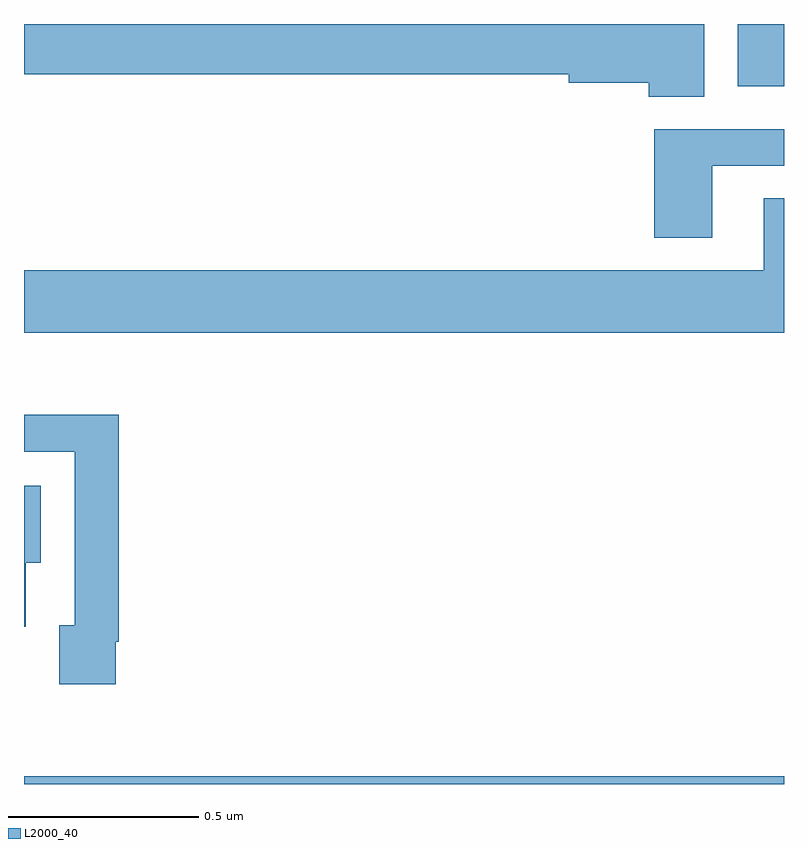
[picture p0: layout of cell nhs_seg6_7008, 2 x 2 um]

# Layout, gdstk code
import gdstk
lib = gdstk.Library(unit=1e-6, precision=1e-09)
def R(c, l, rs):  # rectangles x0, y0, x1, y1
    for r in rs: c.add(gdstk.rectangle(r[:2], r[2:], *l))
def P(c, l, *ps):  # polygons
    for p in ps: c.add(gdstk.Polygon(p, *l))
L2000_40 = (2000, 40)

nhs_seg6_7008 = lib.new_cell('nhs_seg6_7008')
R(nhs_seg6_7008, L2000_40, [(203,927.5,205,927.52), (204.878,929.336,205,929.5)])
P(nhs_seg6_7008, L2000_40, [(204.79,929.5),(203,929.5),(203,929.368),(204.434,929.368),(204.434,929.345),(204.644,929.345),(204.644,929.308),(204.79,929.308)],
  [(204.811,929.127),(205,929.127),(205,929.223),(204.659,929.223),(204.659,928.938),(204.811,928.938)],
  [(205,929.042),(204.947,929.042),(204.947,928.852),(203,928.852),(203,928.688),(205,928.688)],
  [(203.242,927.874),(203.249,927.874),(203.249,928.472),(203,928.472),(203,928.374),(203.133,928.374),(203.133,927.918),(203.093,927.918),(203.093,927.762),(203.242,927.762)],
  [(203.005,928.082),(203.044,928.082),(203.044,928.285),(203,928.285),(203,927.914),(203.005,927.914)])

lib.write_gds('nhs_seg6_7008.gds')
